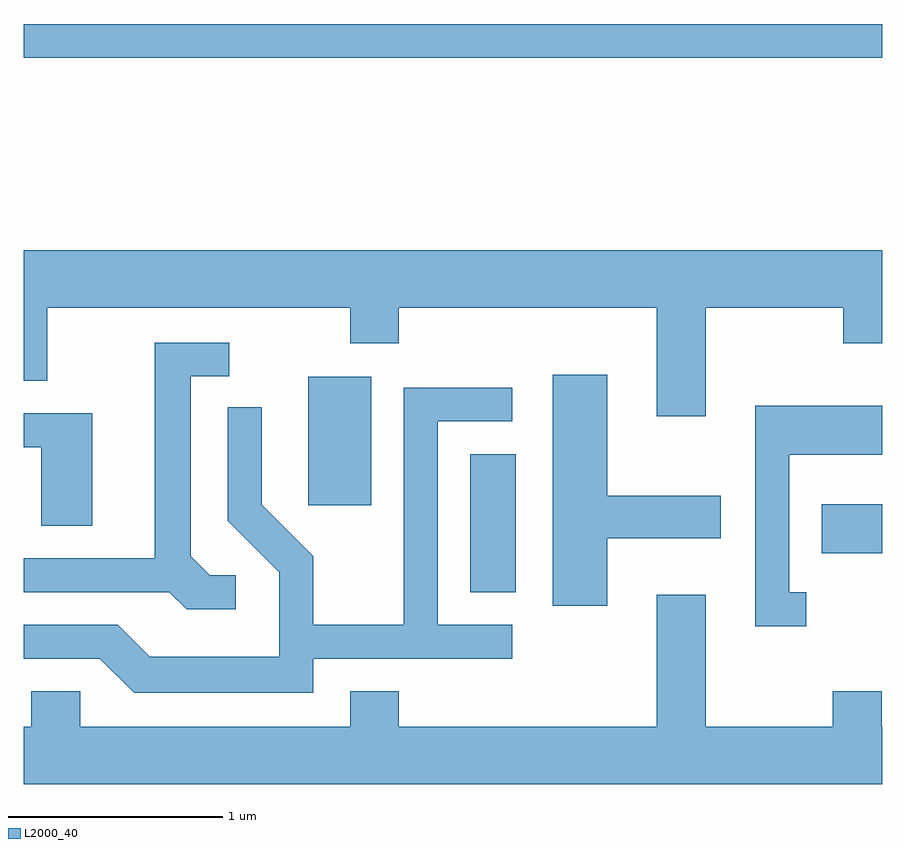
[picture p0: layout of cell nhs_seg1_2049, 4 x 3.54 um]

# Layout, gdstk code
import gdstk
lib = gdstk.Library(unit=1e-6, precision=1e-09)
def R(c, l, rs):  # rectangles x0, y0, x1, y1
    for r in rs: c.add(gdstk.rectangle(r[:2], r[2:], *l))
def P(c, l, *ps):  # polygons
    for p in ps: c.add(gdstk.Polygon(p, *l))
L2000_40 = (2000, 40)

nhs_seg1_2049 = lib.new_cell('nhs_seg1_2049')
R(nhs_seg1_2049, L2000_40, [(249.691,924.891,249.904,925.534), (251.331,925.071,251.611,925.299), (248.936,925.296,249.229,925.894), (247.611,927.381,251.611,927.539)])
P(nhs_seg1_2049, L2000_40, [(250.789,926.216),(251.431,926.216),(251.431,926.051),(251.611,926.051),(251.611,926.484),(247.611,926.484),(247.611,925.876),(247.719,925.876),(247.719,926.216),(249.131,926.216),(249.131,926.051),(249.359,926.051),(249.359,926.216),(250.561,926.216),(250.561,925.711),(250.789,925.711)],
  [(248.598,924.969),(248.477,924.969),(248.389,925.057),(248.389,925.896),(248.568,925.896),(248.568,926.054),(248.221,926.054),(248.221,925.049),(247.611,925.049),(247.611,924.891),(248.289,924.891),(248.369,924.811),(248.598,924.811)],
  [(250.329,925.141),(250.859,925.141),(250.859,925.339),(250.329,925.339),(250.329,925.904),(250.076,925.904),(250.076,924.826),(250.329,924.826)],
  [(248.959,924.581),(249.888,924.581),(249.888,924.739),(249.539,924.739),(249.539,925.686),(249.888,925.686),(249.888,925.844),(249.381,925.844),(249.381,924.739),(248.959,924.739),(248.959,925.057),(248.719,925.297),(248.719,925.753),(248.561,925.753),(248.561,925.224),(248.801,924.984),(248.801,924.589),(248.197,924.589),(248.047,924.739),(247.611,924.739),(247.611,924.581),(247.964,924.581),(248.124,924.421),(248.959,924.421)],
  [(251.258,924.889),(251.179,924.889),(251.179,925.531),(251.611,925.531),(251.611,925.759),(251.021,925.759),(251.021,924.731),(251.258,924.731)],
  [(247.929,925.724),(247.611,925.724),(247.611,925.566),(247.691,925.566),(247.691,925.201),(247.929,925.201)],
  [(251.611,924.264),(251.609,924.264),(251.609,924.429),(251.381,924.429),(251.381,924.264),(250.789,924.264),(250.789,924.879),(250.561,924.879),(250.561,924.264),(249.359,924.264),(249.359,924.429),(249.131,924.429),(249.131,924.264),(247.874,924.264),(247.874,924.429),(247.646,924.429),(247.646,924.264),(247.611,924.264),(247.611,923.996),(251.611,923.996)])

lib.write_gds('nhs_seg1_2049.gds')
